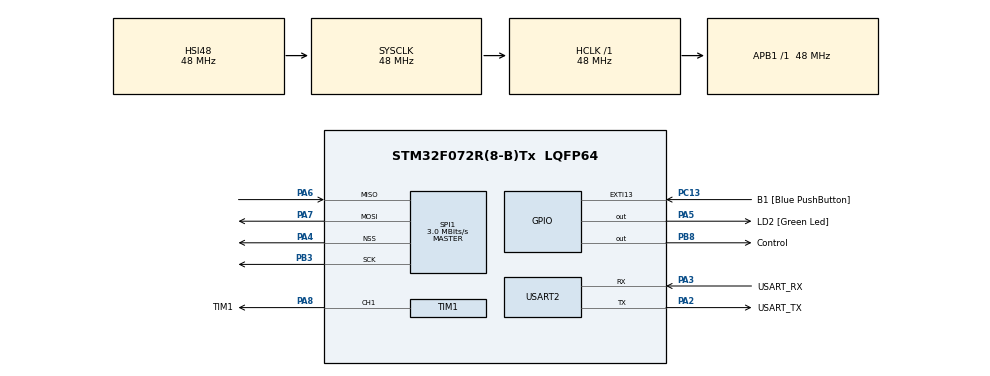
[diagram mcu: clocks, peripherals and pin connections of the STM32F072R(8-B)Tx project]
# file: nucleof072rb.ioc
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Mcu.Family=STM32F0
Mcu.Name=STM32F072R(8-B)Tx
Mcu.Package=LQFP64
PA13.GPIO_Label=TMS
PA13.Mode=Serial_Wire
PA13.Signal=SYS_SWDIO
PA14.GPIO_Label=TCK
PA14.Mode=Serial_Wire
PA14.Signal=SYS_SWCLK
PA2.GPIO_Label=USART_TX
PA2.GPIO_Mode=GPIO_MODE_AF_PP
PA2.GPIO_PuPd=GPIO_NOPULL
PA2.GPIO_Speed=GPIO_SPEED_FREQ_LOW
PA2.Mode=Asynchronous
PA2.Signal=USART2_TX
PA3.GPIO_Label=USART_RX
PA3.GPIO_Mode=GPIO_MODE_AF_PP
PA3.GPIO_PuPd=GPIO_NOPULL
PA3.GPIO_Speed=GPIO_SPEED_FREQ_LOW
PA3.Mode=Asynchronous
PA3.Signal=USART2_RX
PA4.Mode=NSS_Signal_Hard_Output
PA4.Signal=SPI1_NSS
PA5.GPIO_Label=LD2 [Green Led]
PA5.GPIO_Mode=GPIO_MODE_OUTPUT_PP
PA5.GPIO_PuPd=GPIO_NOPULL
PA5.GPIO_Speed=GPIO_SPEED_FREQ_LOW
PA5.Signal=GPIO_Output
PA6.Mode=Full_Duplex_Master
PA6.Signal=SPI1_MISO
PA7.Mode=Full_Duplex_Master
PA7.Signal=SPI1_MOSI
PA8.GPIO_Label=TIM1
PA8.Signal=S_TIM1_CH1
PB3.Mode=Full_Duplex_Master
PB3.Signal=SPI1_SCK
PB8.GPIO_Label=Control
PB8.Signal=GPIO_Output
PC13.GPIO_Label=B1 [Blue PushButton]
PC13.GPIO_ModeDefaultEXTI=GPIO_MODE_IT_FALLING
PC13.Signal=GPXTI13
PC14-OSC32_IN.Mode=LSE-External-Oscillator
PC14-OSC32_IN.Signal=RCC_OSC32_IN
PC15-OSC32_OUT.Mode=LSE-External-Oscillator
PC15-OSC32_OUT.Signal=RCC_OSC32_OUT
PF0-OSC_IN.Mode=HSE-External-Clock-Source
PF0-OSC_IN.Signal=RCC_OSC_IN
PF1-OSC_OUT.Signal=RCC_OSC_OUT
ProjectManager.HeapSize=0x200
ProjectManager.StackSize=0x400
ProjectManager.TargetToolchain=STM32CubeIDE
RCC.AHBFreq_Value=48000000
RCC.APB1Freq_Value=48000000
RCC.APB1TimFreq_Value=48000000
RCC.FLatency-AdvancedSettings=FLASH_LATENCY_1
RCC.HCLKFreq_Value=48000000
RCC.PLLDivider=RCC_PREDIV_DIV2
RCC.PLLMUL=RCC_PLL_MUL12
RCC.PREFETCH_ENABLE-AdvancedSettings=1
RCC.SYSCLKFreq_VALUE=48000000
RCC.SYSCLKSource=RCC_SYSCLKSOURCE_HSI48
SH.S_TIM1_CH1.0=TIM1_CH1,PWM Generation1 CH1
SPI1.BaudRatePrescaler=SPI_BAUDRATEPRESCALER_16
SPI1.CalculateBaudRate=3.0 MBits/s
SPI1.Direction=SPI_DIRECTION_2LINES
SPI1.Mode=SPI_MODE_MASTER
SPI1.VirtualNSS=VM_NSSHARD
SPI1.VirtualType=VM_MASTER
TIM1.Channel-PWM\ Generation1\ CH1=TIM_CHANNEL_1
TIM1.Prescaler=14
USART2.VirtualMode=VM_ASYNC
USART2.VirtualMode-Asynchronous=VM_ASYNC
VP_TIM1_VS_ClockSourceINT.Mode=Internal
board=NUCLEO-F072RB

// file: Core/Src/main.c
/* USER CODE BEGIN Header */
/**
  ******************************************************************************
  * @file           : main.c
  * @brief          : Main program body
  ******************************************************************************
  * @attention
  *
  * <h2><center>&copy; Copyright (c) 2021 STMicroelectronics.
  * All rights reserved.</center></h2>
  *
  * This software component is licensed by ST under BSD 3-Clause license,
  * the "License"; You may not use this file except in compliance with the
  * License. You may obtain a copy of the License at:
  *                        opensource.org/licenses/BSD-3-Clause
  *
  ******************************************************************************
  */
/* USER CODE END Header */
#include "main.h"
#include "spi.h"
#include "tim.h"
#include "usart.h"
#include "gpio.h"

/* USER CODE BEGIN Includes */
#include "mcp3004.h"
#include "motor_controller.h"
/* USER CODE END Includes */

void SystemClock_Config(void);
/* USER CODE BEGIN PFP */
uint16_t map_mcp3004_output_to_pwm_input(uint16_t mcp3004_output);
/* USER CODE END PFP */

/* USER CODE BEGIN 0 */
SPI_HandleTypeDef spi_handler;
TIM_HandleTypeDef pwm_handler;

mcp3004_hardware_configuration_t mcp3004_hardware_configuration = {
  .control_gpio_pin = Control_Pin,
  .control_gpio_port = Control_GPIO_Port,
  .spi_handler = &spi_handler
};

motor_controller_hardware_configuration_t motor_controller_hardware_configuration = {
  .channel = TIM_CHANNEL_1,
  .pwm_handler = &pwm_handler,
  .TIM = TIM1
};

mcp3004_data_t mcp3004_data;
motor_controller_data_t motor_controller_data;
/* USER CODE END 0 */

int main(void)
{

  /* USER CODE BEGIN 1 */
  // HAL_SPI_MspInit(&spi_handler);
  /* USER CODE END 1 */

  /* MCU Configuration--------------------------------------------------------*/

  /* Reset of all peripherals, Initializes the Flash interface and the Systick. */
  HAL_Init();

  /* Configure the system clock */
  SystemClock_Config();

  /* Initialize all configured peripherals */
  MX_GPIO_Init();
  MX_USART2_UART_Init();
  MX_SPI1_Init();
  MX_TIM1_Init();
  /* USER CODE BEGIN 2 */
  mcp3004_open(&mcp3004_hardware_configuration);
  motor_controller_open(&motor_controller_hardware_configuration);
  /* USER CODE END 2 */

  /* Infinite loop */
  while (1)
  {

    /* USER CODE BEGIN 3 */

    mcp3004_select_channel(&mcp3004_hardware_configuration, 0);
    mcp3004_read(&mcp3004_hardware_configuration, &mcp3004_data);
    motor_controller_data.value = map_mcp3004_output_to_pwm_input(mcp3004_data.value);
    motor_controller_write(&motor_controller_hardware_configuration, &motor_controller_data);
    HAL_Delay(10);
  }
  /* USER CODE END 3 */
}

void SystemClock_Config(void)
{
  RCC_OscInitTypeDef RCC_OscInitStruct = {0};
  RCC_ClkInitTypeDef RCC_ClkInitStruct = {0};
  RCC_PeriphCLKInitTypeDef PeriphClkInit = {0};

  /** Initializes the RCC Oscillators according to the specified parameters
  * in the RCC_OscInitTypeDef structure.
  */
  RCC_OscInitStruct.OscillatorType = RCC_OSCILLATORTYPE_HSI48;
  RCC_OscInitStruct.HSI48State = RCC_HSI48_ON;
  RCC_OscInitStruct.PLL.PLLState = RCC_PLL_NONE;
  if (HAL_RCC_OscConfig(&RCC_OscInitStruct) != HAL_OK)
  {
    Error_Handler();
  }

  /** Initializes the CPU, AHB and APB buses clocks
  */
  RCC_ClkInitStruct.ClockType = RCC_CLOCKTYPE_HCLK|RCC_CLOCKTYPE_SYSCLK
                              |RCC_CLOCKTYPE_PCLK1;
  RCC_ClkInitStruct.SYSCLKSource = RCC_SYSCLKSOURCE_HSI48;
  RCC_ClkInitStruct.AHBCLKDivider = RCC_SYSCLK_DIV1;
  RCC_ClkInitStruct.APB1CLKDivider = RCC_HCLK_DIV1;

  if (HAL_RCC_ClockConfig(&RCC_ClkInitStruct, FLASH_LATENCY_1) != HAL_OK)
  {
    Error_Handler();
  }
  PeriphClkInit.PeriphClockSelection = RCC_PERIPHCLK_USART2;
  PeriphClkInit.Usart2ClockSelection = RCC_USART2CLKSOURCE_PCLK1;
  if (HAL_RCCEx_PeriphCLKConfig(&PeriphClkInit) != HAL_OK)
  {
    Error_Handler();
  }
}

/* USER CODE BEGIN 4 */

uint16_t map_mcp3004_output_to_pwm_input(uint16_t mcp3004_output) {
  return (mcp3004_output * 255) / 1023;
}

/* USER CODE END 4 */

void Error_Handler(void)
{
  __disable_irq();
  while (1)
  {
  }
}
